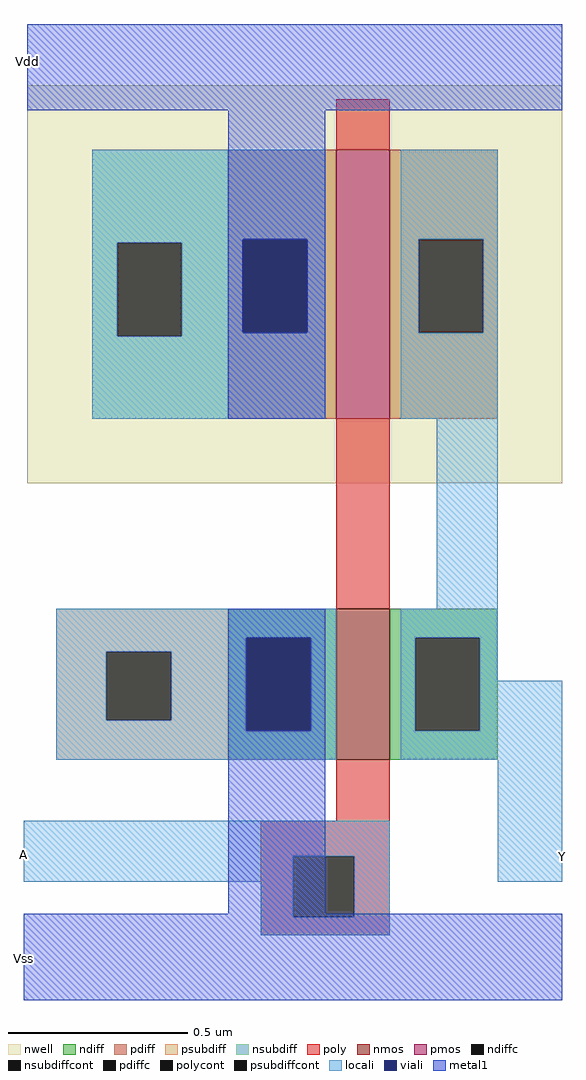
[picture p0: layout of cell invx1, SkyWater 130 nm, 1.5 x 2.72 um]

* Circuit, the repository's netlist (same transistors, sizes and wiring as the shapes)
* NGSPICE file created from invx1.ext - technology: sky130A

.subckt invx1 Vdd Y A Vss
X0 Y A Vss Vss sky130_fd_pr__nfet_01v8 ad=0.126 pd=1.44 as=0.126 ps=1.44 w=0.42 l=0.15
**devattr s=1260,144 d=1260,144
X1 Y A Vdd Vdd sky130_fd_pr__pfet_01v8 ad=0.225 pd=2.1 as=0.225 ps=2.1 w=0.75 l=0.15
**devattr s=2250,210 d=2250,210
.ends

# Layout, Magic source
magic
tech sky130A
<< nwell >>
rect -91 87 58 198
<< nmos >>
rect -5 10 10 52
<< pmos >>
rect -5 105 10 180
<< ndiff >>
rect -35 44 -5 52
rect -35 18 -30 44
rect -12 18 -5 44
rect -35 10 -5 18
rect 10 44 40 52
rect 10 18 17 44
rect 35 18 40 44
rect 10 10 40 18
<< pdiff >>
rect -35 155 -5 180
rect -35 129 -31 155
rect -13 129 -5 155
rect -35 105 -5 129
rect 10 155 40 180
rect 10 129 18 155
rect 36 129 40 155
rect 10 105 40 129
<< ndiffc >>
rect -30 18 -12 44
rect 17 18 35 44
<< pdiffc >>
rect -31 129 -13 155
rect 18 129 36 155
<< psubdiff >>
rect -83 40 -35 52
rect -83 21 -69 40
rect -51 21 -35 40
rect -83 10 -35 21
<< nsubdiff >>
rect -73 154 -35 180
rect -73 128 -66 154
rect -48 128 -35 154
rect -73 105 -35 128
<< psubdiffcont >>
rect -69 21 -51 40
<< nsubdiffcont >>
rect -66 128 -48 154
<< poly >>
rect -5 180 10 194
rect -5 52 10 105
rect -5 -7 10 10
rect -26 -17 10 -7
rect -26 -34 -17 -17
rect 0 -34 10 -17
rect -26 -39 10 -34
<< polycont >>
rect -17 -34 0 -17
<< locali >>
rect -73 155 -8 180
rect -73 154 -31 155
rect -73 128 -66 154
rect -48 129 -31 154
rect -13 129 -8 155
rect -48 128 -8 129
rect -73 105 -8 128
rect 13 155 40 180
rect 13 129 18 155
rect 36 129 40 155
rect 13 105 40 129
rect 23 52 40 105
rect -83 44 -5 52
rect -83 40 -30 44
rect -83 21 -69 40
rect -51 21 -30 40
rect -83 18 -30 21
rect -12 18 -5 44
rect -83 10 -5 18
rect 13 44 40 52
rect 13 18 17 44
rect 35 32 40 44
rect 35 18 58 32
rect 13 10 58 18
rect -92 -17 10 -7
rect -92 -24 -17 -17
rect -26 -34 -17 -24
rect 0 -34 10 -17
rect 40 -24 58 10
rect -26 -39 10 -34
<< viali >>
rect -31 129 -13 155
rect -30 18 -12 44
<< metal1 >>
rect -91 191 58 215
rect -35 155 -8 191
rect -35 129 -31 155
rect -13 129 -8 155
rect -35 105 -8 129
rect -35 44 -8 52
rect -35 18 -30 44
rect -12 18 -8 44
rect -35 -33 -8 18
rect -92 -57 58 -33
<< labels >>
rlabel locali 58 -17 58 -17 7 Y
port 2 w
rlabel metal1 -91 204 -91 205 3 Vdd
port 1 e
rlabel locali -92 -17 -92 -16 3 A
port 3 e
rlabel metal1 -92 -46 -92 -45 3 Vss
port 4 e
<< end >>
